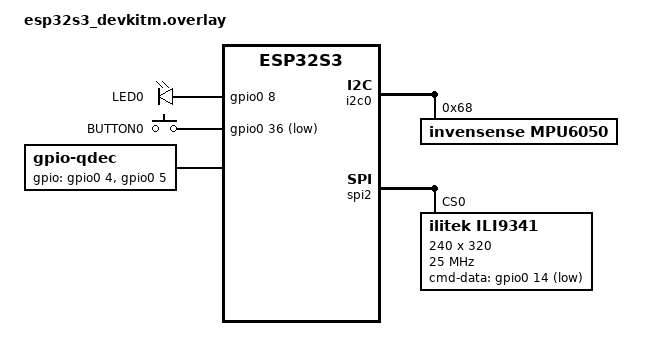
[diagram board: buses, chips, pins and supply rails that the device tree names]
#include <zephyr/dt-bindings/input/input-event-codes.h>

/ {
	chosen {
		zephyr,display = &ili9341;
	};

	aliases {
		accel0 =&mpu6050;
		led0 = &led0;
		qdec0 = &pcnt;
		sw0 = &button0;
	};

	leds {
		compatible = "gpio-leds";
		led0: led0 {
			label = "LED0";
			gpios = <&gpio0 8 GPIO_ACTIVE_HIGH>;
		};
	};

	/* Buttons */
	buttons: buttons {
		compatible = "gpio-keys";

		button0 {
			label = "BUTTON0";
			gpios = <&gpio0 36 (GPIO_PULL_UP | GPIO_ACTIVE_LOW)>;
			zephyr,code = <INPUT_KEY_A>;
		};
	};

	lvgl_button_input {
		compatible = "zephyr,lvgl-button-input";
		input = <&buttons>;
		input-codes = <INPUT_KEY_A>;
		coordinates = <160 120>;
	};

	lvgl_encoder_input {
		compatible = "zephyr,lvgl-encoder-input";
		rotation-input-code = <INPUT_REL_WHEEL>;
		button-input-code = <INPUT_KEY_ENTER>;
	};

	qdec {
		compatible = "gpio-qdec";
		gpios = <&gpio0 4 GPIO_ACTIVE_HIGH>, <&gpio0 5 GPIO_ACTIVE_HIGH>;
		steps-per-period = <4>;
		zephyr,axis = <INPUT_REL_WHEEL>;
		sample-time-us = <2000>;
		idle-timeout-ms = <200>;
	};
};

&pinctrl {
	pcnt_default: pcnt_default {
		group1 {
			pinmux = <PCNT0_CH0SIG_GPIO20>,
				<PCNT0_CH0CTRL_GPIO21>;
			bias-pull-up;
		};
	};
};

&i2c0 {
	status = "okay";

	mpu6050: mpu6050@68 {
		compatible = "invensense,mpu6050";
		reg = <0x68>;
		status = "okay";
	};
};

&spi2 {
	status = "okay";

	ili9341: ili9341@0 {
		compatible = "ilitek,ili9341";
		cmd-data-gpios = <&gpio0 14 GPIO_ACTIVE_LOW>;
		reg = <0x0 >;
		spi-max-frequency = <25000000>;
		width = <240>;
		height = <320>;
	};
};
